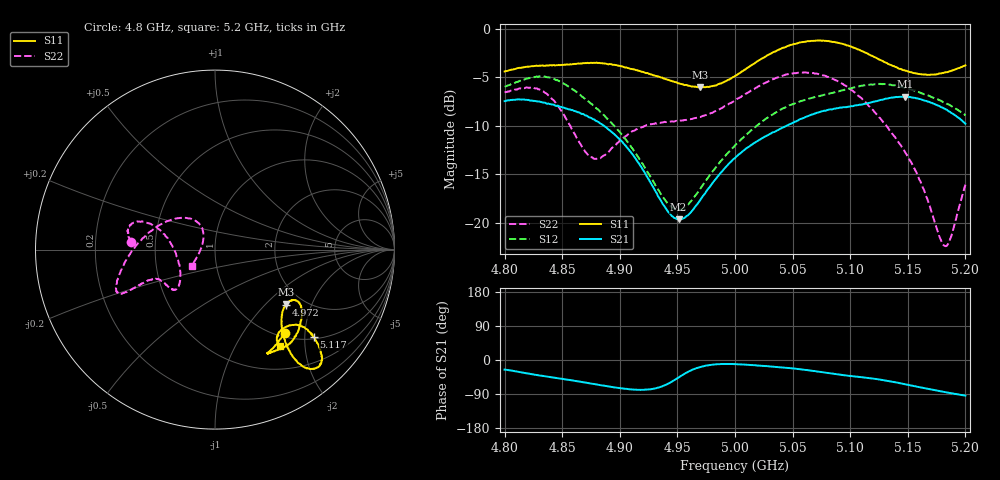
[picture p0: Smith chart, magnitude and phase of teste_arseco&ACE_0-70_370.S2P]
! Network Analyzer HP8722D
! Hewlett-Packard
! Data name: Linha & Wilkinson
! Saver's name: Rodrigo Anjos
! Comments: Teste da utilização de aquisição
! continua pelo VNA HP8722D
! Time and date: 8/5/2025 15:50
!  Frequency  S11  S21  S12  S22
# HZ  S  MA R 50
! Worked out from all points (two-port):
!   401 points, 4.8 GHz to 5.2 GHz, reference 50 ohm
!   highest |S21| = -7.00 dB at 5.148 GHz (marker M1); lowest = -19.7 dB at 4.951 GHz (marker M2)
!   |S21| within 3 dB of the highest: start of sweep to 4.886 GHz; 5.045 GHz to end of sweep
!   lowest |S11| = -6.0 dB at 4.97 GHz (marker M3), VSWR 2.99, Z = 82.6 - j66.5 ohm
!   |S11| at or under -10 dB: nowhere
!   |S22| runs from -22.4 to -4.5 dB; largest |S21 - S12| = 0.97
!   S11 on the Smith chart (normalised r, x): 4.8 GHz: 1.08, -1.57; 4.972 GHz: 1.63, -1.34; 5.117 GHz: 1.05, -2.22; 5.2 GHz: 0.84, -1.55
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4.8e9  0.6041 -50.0  0.4239 -25.4  0.5027 179.6  0.4713 175.0
4.821e9  0.6385 -60.7  0.4302 -36.1  0.5567 171.6  0.4973 166.7
4.835e9  0.6453 -63.0  0.4166 -43.1  0.5681 163.4  0.4688 160.8
4.85e9  0.6516 -61.2  0.3939 -50.0  0.528 154.2  0.372 158.5
4.867e9  0.6627 -55.7  0.3643 -58.0  0.4482 146.3  0.2478 172.3
4.882e9  0.668 -50.2  0.3293 -65.7  0.3797 141.2  0.216 -158.9
4.909e9  0.6223 -40.1  0.2337 -77.3  0.251 135.4  0.2915 -134.6
4.934e9  0.5667 -32.9  0.1347 -72.4  0.1462 144.7  0.328 -138.1
4.951e9  0.524 -32.4  0.104 -46.3  0.1165 171.6  0.3355 -144.5
4.97e9  0.4992 -37.3  0.1315 -18.3  0.1501 -160.5  0.3513 -151.5
4.972e9  0.5009 -37.9  0.1371 -16.5  0.1565 -158.8  0.356 -152.4
5e9  0.5717 -49.4  0.2159 -11.0  0.2507 -149.4  0.4272 -155.1
5.039e9  0.785 -53.7  0.3049 -19.1  0.3819 -151.5  0.5674 -154.7
5.067e9  0.8672 -49.6  0.3622 -28.4  0.4415 -158.4  0.5917 -158.7
5.094e9  0.8353 -44.6  0.3948 -39.8  0.4833 -166.5  0.518 -170.1
5.117e9  0.7351 -41.5  0.4159 -47.8  0.5154 -177.5  0.3964 169.1
5.134e9  0.6563 -41.2  0.4404 -55.8  0.5159 172.2  0.3009 147.4
5.148e9  0.6089 -43.5  0.4469 -64.3  0.4951 164.5  0.2291 130.6
5.164e9  0.5812 -48.6  0.4286 -74.2  0.4602 157.3  0.1479 121.0
5.182e9  0.5967 -54.2  0.3874 -84.6  0.4165 151.1  0.07595 160.1
5.187e9  0.6056 -55.4  0.372 -87.4  0.4026 149.7  0.08316 -175.7
5.2e9  0.6483 -55.9  0.3245 -94.2  0.3581 146.0  0.1572 -145.4
